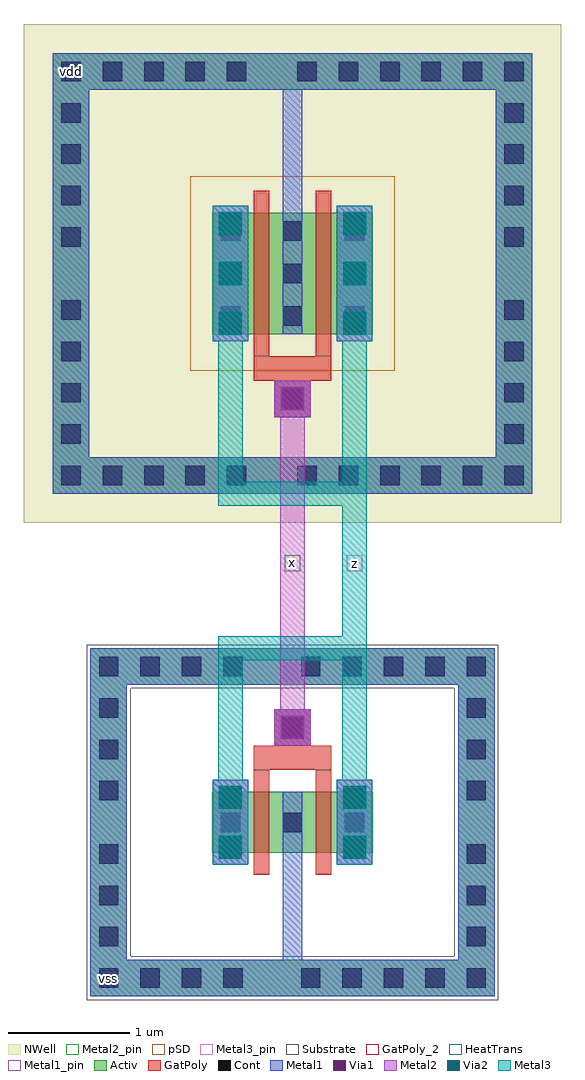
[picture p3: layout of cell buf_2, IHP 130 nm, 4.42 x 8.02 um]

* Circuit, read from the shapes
.subckt buf_2 vdd vss x z
XM1 vss x z vss sg13_lv_nmos w=0.5u l=0.13u m=2
XM2 vdd x z vdd sg13_lv_pmos w=1u l=0.13u m=2
.ends

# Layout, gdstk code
import gdstk
lib = gdstk.Library(unit=1e-6, precision=1e-09)
def R(c, l, rs):  # rectangles x0, y0, x1, y1
    for r in rs: c.add(gdstk.rectangle(r[:2], r[2:], *l))
def A(c, l, x, y, w, h, nx, ny, dx, dy):  # array of equal rectangles
    R(c, l, [(x+i*dx, y+j*dy, x+i*dx+w, y+j*dy+h) for i in range(nx) for j in range(ny)])
def P(c, l, *ps):  # polygons
    for p in ps: c.add(gdstk.Polygon(p, *l))
Activ = (1, 0)
GatPoly = (5, 0)
GatPoly_2 = (5, 2)
Cont = (6, 0)
Metal1 = (8, 0)
Metal1_pin = (8, 2)
Metal2 = (10, 0)
Metal2_pin = (10, 2)
pSD = (14, 0)
Via1 = (19, 0)
Via2 = (29, 0)
Metal3 = (30, 0)
Metal3_pin = (30, 2)
NWell = (31, 0)
Substrate = (40, 0)
HeatTrans = (51, 0)

via_stack_1 = lib.new_cell('via_stack$1')
R(via_stack_1, Metal1, [(-0.145,-0.35,0.145,0.35)])
R(via_stack_1, Metal2, [(-0.145,-0.35,0.145,0.35)])
R(via_stack_1, Via1, [(-0.095,-0.3,0.095,-0.11), (-0.095,0.11,0.095,0.3)])
R(via_stack_1, Via2, [(-0.095,-0.3,0.095,-0.11), (-0.095,0.11,0.095,0.3)])
R(via_stack_1, Metal3, [(-0.145,-0.35,0.145,0.35)])

via_stack_2 = lib.new_cell('via_stack$2')
R(via_stack_2, Metal1, [(-0.145,-0.555,0.145,0.555)])
R(via_stack_2, Metal2, [(-0.145,-0.555,0.145,0.555)])
A(via_stack_2, Via1, -0.095, -0.505, 0.19, 0.19, 1, 3, 0, 0.41)
A(via_stack_2, Via2, -0.095, -0.505, 0.19, 0.19, 1, 3, 0, 0.41)
R(via_stack_2, Metal3, [(-0.145,-0.555,0.145,0.555)])

via = lib.new_cell('Via')
R(via, Metal1, [(-0.15,-0.15,0.15,0.15)])
R(via, Metal2, [(-0.15,-0.15,0.15,0.15)])
R(via, Via1, [(-0.095,-0.095,0.095,0.095)])

via_1 = lib.new_cell('Via$1')
R(via_1, GatPoly, [(-0.15,-0.15,0.15,0.15)])
R(via_1, Cont, [(-0.08,-0.08,0.08,0.08)])
R(via_1, Metal1, [(-0.15,-0.15,0.15,0.15)])

nmos_1 = lib.new_cell('nmos$1')
A(nmos_1, Activ, 0, 0, 0.3, 0.3, 3, 1, 0.51, 0)
R(nmos_1, Activ, [(-1,-0.88,-0.7,1.38), (2.02,-0.88,2.32,1.38), (0,0,1.32,0.5), (-1,1.38,2.32,1.68)])
P(nmos_1, Activ, [(-1,-1.18),(-1,1.38),(-0.7,1.38),(-0.7,-0.88),(2.02,-0.88),(2.02,1.38),(-1,1.38),(-1,1.68),(2.32,1.68),(2.32,-1.18)])
R(nmos_1, GatPoly, [(0.34,-0.18,0.47,0.68), (0.85,-0.18,0.98,0.68)])
R(nmos_1, GatPoly_2, [(0.34,-0.18,0.47,0.68)])
A(nmos_1, Cont, -0.93, -1.11, 0.16, 0.16, 4, 2, 0.34, 2.56)
A(nmos_1, Cont, 0.73, -1.11, 0.16, 0.16, 5, 2, 0.34, 2.56)
A(nmos_1, Cont, -0.93, -0.77, 0.16, 0.16, 1, 3, 0, 0.34)
A(nmos_1, Cont, 2.09, -0.77, 0.16, 0.16, 1, 3, 0, 0.34)
A(nmos_1, Cont, 0.07, 0.17, 0.16, 0.16, 3, 1, 0.51, 0)
A(nmos_1, Cont, -0.93, 0.43, 0.16, 0.16, 1, 3, 0, 0.34)
A(nmos_1, Cont, 2.09, 0.43, 0.16, 0.16, 1, 3, 0, 0.34)
A(nmos_1, Metal1, 0.07, 0, 0.16, 0.5, 3, 1, 0.51, 0)
R(nmos_1, Metal1, [(-1,-1.18,2.32,-0.88), (-1,-0.88,-0.7,1.38), (2.02,-0.88,2.32,1.38), (-1,1.38,2.32,1.68)])
R(nmos_1, Metal1_pin, [(0.07,0,0.23,0.5), (0.58,0,0.74,0.5)])
R(nmos_1, pSD, [(-1.03,-0.85,-0.67,1.35), (1.99,-0.85,2.35,1.35), (-1.03,1.35,2.35,1.71)])
P(nmos_1, pSD, [(-1.03,-1.21),(-1.03,1.35),(-0.67,1.35),(-0.67,-0.85),(1.99,-0.85),(1.99,1.35),(-1.03,1.35),(-1.03,1.71),(2.35,1.71),(2.35,-1.21)])
R(nmos_1, Substrate, [(-1.03,-0.85,-0.67,1.35), (1.99,-0.85,2.35,1.35), (-1.03,1.35,2.35,1.71)])
P(nmos_1, Substrate, [(-1.03,-1.21),(-1.03,1.35),(-0.67,1.35),(-0.67,-0.85),(1.99,-0.85),(1.99,1.35),(-1.03,1.35),(-1.03,1.71),(2.35,1.71),(2.35,-1.21)])
R(nmos_1, HeatTrans, [(0.34,-0.18,0.47,0.68), (0.85,-0.18,0.98,0.68)])
nmos_1.add(gdstk.Label('nmos', (0.405,0.25), layer=63, texttype=0))
nmos_1.add(gdstk.Label('sub!', (0.66,-1.03), layer=63, texttype=0))
nmos_1.add(gdstk.Label('nmos', (0.405,0.25), layer=51, texttype=0))
nmos_1.add(gdstk.Label('nmos', (0.915,0.25), layer=51, texttype=0))

pmos_1 = lib.new_cell('pmos$1')
A(pmos_1, Activ, 0, 0, 0.3, 0.3, 3, 1, 0.51, 0)
R(pmos_1, Activ, [(-1.31,-1.01,-1.01,2.01), (2.33,-1.01,2.63,2.01), (0,0,1.32,1), (-1.31,2.01,2.63,2.31)])
P(pmos_1, Activ, [(-1.31,-1.31),(-1.31,2.01),(-1.01,2.01),(-1.01,-1.01),(2.33,-1.01),(2.33,2.01),(-1.31,2.01),(-1.31,2.31),(2.63,2.31),(2.63,-1.31)])
R(pmos_1, GatPoly, [(0.34,-0.18,0.47,1.18), (0.34,-0.18,0.47,1.18), (0.85,-0.18,0.98,1.18)])
A(pmos_1, Cont, -1.24, -1.24, 0.16, 0.16, 5, 2, 0.34, 3.32)
A(pmos_1, Cont, 0.7, -1.24, 0.16, 0.16, 6, 2, 0.34, 3.32)
A(pmos_1, Cont, -1.24, -0.9, 0.16, 0.16, 1, 4, 0, 0.34)
A(pmos_1, Cont, 2.4, -0.9, 0.16, 0.16, 1, 4, 0, 0.34)
A(pmos_1, Cont, 0.07, 0.07, 0.16, 0.16, 3, 3, 0.51, 0.35)
A(pmos_1, Cont, -1.24, 0.72, 0.16, 0.16, 1, 4, 0, 0.34)
A(pmos_1, Cont, 2.4, 0.72, 0.16, 0.16, 1, 4, 0, 0.34)
R(pmos_1, Metal1, [(-1.31,-1.31,2.63,-1.01), (-1.31,-1.01,-1.01,2.01), (2.33,-1.01,2.63,2.01), (0.07,0,0.23,1), (0.07,0,0.23,1), (0.58,0,0.74,1), (0.58,0,0.74,1), (1.09,0,1.25,1), (-1.31,2.01,2.63,2.31)])
R(pmos_1, pSD, [(-0.18,-0.3,1.5,1.3)])
R(pmos_1, NWell, [(-1.55,-1.55,2.87,2.55), (-0.31,-0.31,1.63,1.31)])
R(pmos_1, Substrate, [(1.02,0,1.32,0.3)])
R(pmos_1, HeatTrans, [(0.34,-0.18,0.47,1.18), (0.85,-0.18,0.98,1.18)])
pmos_1.add(gdstk.Label('pmos', (0.405,0.5), layer=63, texttype=0))
pmos_1.add(gdstk.Label('well', (0.66,-1.16), layer=63, texttype=0))
pmos_1.add(gdstk.Label('pmos', (0.405,0.5), layer=51, texttype=0))
pmos_1.add(gdstk.Label('pmos', (0.915,0.5), layer=51, texttype=0))

buf_2 = lib.new_cell('buf_2')
R(buf_2, Metal1_pin, [(0.635,0.115,0.765,0.245), (0.325,7.565,0.455,7.695)])
R(buf_2, Metal2_pin, [(2.145,3.525,2.275,3.655)])
R(buf_2, Metal3_pin, [(2.655,3.525,2.785,3.655)])
buf_2.add(gdstk.FlexPath([(2.21,2.24),(2.21,4.94)], 0.2, ends="flush", simple_path=True, layer=10, datatype=0))  # Metal2
buf_2.add(gdstk.FlexPath([(1.7,5.47),(1.7,4.16),(2.8,4.16)], 0.2, ends="flush", simple_path=True, layer=30, datatype=0))  # Metal3
buf_2.add(gdstk.FlexPath([(2.72,5.47),(2.72,1.71)], 0.2, ends="flush", simple_path=True, layer=30, datatype=0))  # Metal3
buf_2.add(gdstk.FlexPath([(1.7,1.71),(1.7,2.89),(2.8,2.89)], 0.2, ends="flush", simple_path=True, layer=30, datatype=0))  # Metal3
buf_2.add(gdstk.FlexPath([(2.21,6.47),(2.21,7.78)], 0.16, ends="flush", simple_path=True, layer=8, datatype=0))  # Metal1
buf_2.add(gdstk.FlexPath([(2.21,0.03),(2.21,1.21)], 0.16, ends="flush", simple_path=True, layer=8, datatype=0))  # Metal1
buf_2.add(gdstk.FlexPath([(1.89,5.19),(2.53,5.19)], 0.2, ends="flush", simple_path=True, layer=5, datatype=0))  # GatPoly
buf_2.add(gdstk.FlexPath([(1.89,1.99),(2.53,1.99)], 0.2, ends="flush", simple_path=True, layer=5, datatype=0))  # GatPoly
buf_2.add(gdstk.Reference(via_stack_1, (1.7,1.46)))
buf_2.add(gdstk.Reference(via_stack_1, (2.72,1.46)))
buf_2.add(gdstk.Reference(via_stack_2, (1.7,5.97)))
buf_2.add(gdstk.Reference(via_stack_2, (2.72,5.97)))
buf_2.add(gdstk.Reference(via, (2.21,2.24)))
buf_2.add(gdstk.Reference(via, (2.21,4.94)))
buf_2.add(gdstk.Reference(via_1, (2.21,2.24)))
buf_2.add(gdstk.Reference(via_1, (2.21,4.94)))
buf_2.add(gdstk.Reference(nmos_1, (1.55,1.21)))
buf_2.add(gdstk.Reference(pmos_1, (1.55,5.47)))
buf_2.add(gdstk.Label('vdd', (0.39,7.63), layer=8, texttype=25))
buf_2.add(gdstk.Label('vss', (0.7,0.18), layer=8, texttype=25))
buf_2.add(gdstk.Label('x', (2.211,3.591), layer=10, texttype=25))
buf_2.add(gdstk.Label('z', (2.72,3.585), layer=30, texttype=25))

lib.write_gds('buf_2.gds')
